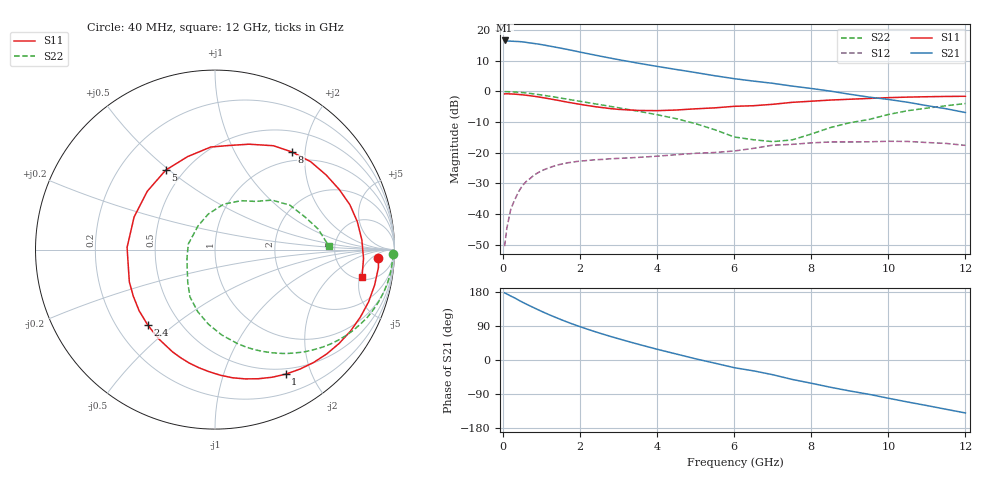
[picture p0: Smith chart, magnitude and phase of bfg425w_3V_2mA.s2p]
! Filename: 32bfg425.001
! BFG425W Field C1
! V1=8.039E-001V,V2=3.000E+000V, I1=2.337E-005A, I2=2.000E-003A
# GHz  S  MA  R 50
!  S11  S21  S12  S22
!Freq(GHz)  Mag  Ang  Mag  Ang  Mag  Ang  Mag  Ang
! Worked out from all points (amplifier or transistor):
!   44 points, 40 MHz to 12 GHz, reference 50 ohm
!   highest |S21| = 16.6 dB at 40 MHz (marker M1)
!   |S21| within 3 dB of that: start of sweep to 1.698 GHz
!   unconditionally stable (mu >= 1): 3.099 GHz to end of sweep
!   at 700 MHz: K = 0.18, MSG = 22.1 dB, |S12| = -28.4 dB
!   at 2.4 GHz: K = 0.72, MSG = 17.0 dB, |S12| = -22.3 dB
!   at 12 GHz: K = 1.79, MAG = 0.2 dB, |S12| = -17.6 dB
!   S11 on the Smith chart (normalised r, x): 40 MHz: 16, -9; 1 GHz: 0.43, -1.64; 2.4 GHz: 0.33, -0.41; 5 GHz: 0.40, +0.49; 8 GHz: 0.84, +1.75; 12 GHz: 5.48, -5.44
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0.04  0.912 -3.0  6.781 177.1  0.003 68.8  0.992 -1.4
0.1  0.916 -6.3  6.638 174.2  0.006 84.5  0.991 -3.6
0.2  0.911 -12.5  6.604 168.7  0.012 80.6  0.987 -7.1
0.5  0.881 -31.0  6.441 152.7  0.029 69.2  0.958 -17.5
0.8  0.835 -48.9  6.054 137.8  0.043 58.1  0.911 -27.0
1  0.798 -60.4  5.799 128.3  0.051 51.4  0.875 -33.0
1.2  0.759 -71.4  5.502 119.4  0.057 45.3  0.837 -38.5
1.5  0.701 -87.4  5.074 106.8  0.065 37.1  0.779 -45.9
1.8  0.648 -102.9  4.655 95.1  0.07 30.2  0.724 -52.7
2.2  0.588 -122.2  4.131 81.0  0.075 22.7  0.657 -61.1
2.4  0.563 -131.8  3.899 74.3  0.077 19.6  0.626 -64.9
3  0.51 -159.4  3.296 55.9  0.081 12.1  0.541 -76.2
3.5  0.49 178.6  2.896 41.8  0.084 7.5  0.477 -85.5
4  0.486 158.0  2.559 28.3  0.088 3.4  0.417 -95.1
4.5  0.498 139.3  2.278 15.7  0.093 -0.3  0.359 -105.5
5  0.521 121.8  2.032 3.1  0.098 -5.6  0.298 -117.9
6  0.572 92.4  1.615 -20.3  0.107 -15.7  0.181 -149.0
6.5  0.585 82.5  1.475 -28.6  0.118 -13.6  0.163 -163.2
8  0.693 51.7  1.118 -61.3  0.145 -37.7  0.202 100.6
8.5  0.724 42.6  1.011 -72.0  0.15 -46.8  0.258 79.1
10.5  0.808 11.1  0.666 -110.8  0.153 -81.6  0.485 30.7
12  0.833 -10.5  0.453 -139.7  0.132 -113.1  0.635 1.8
